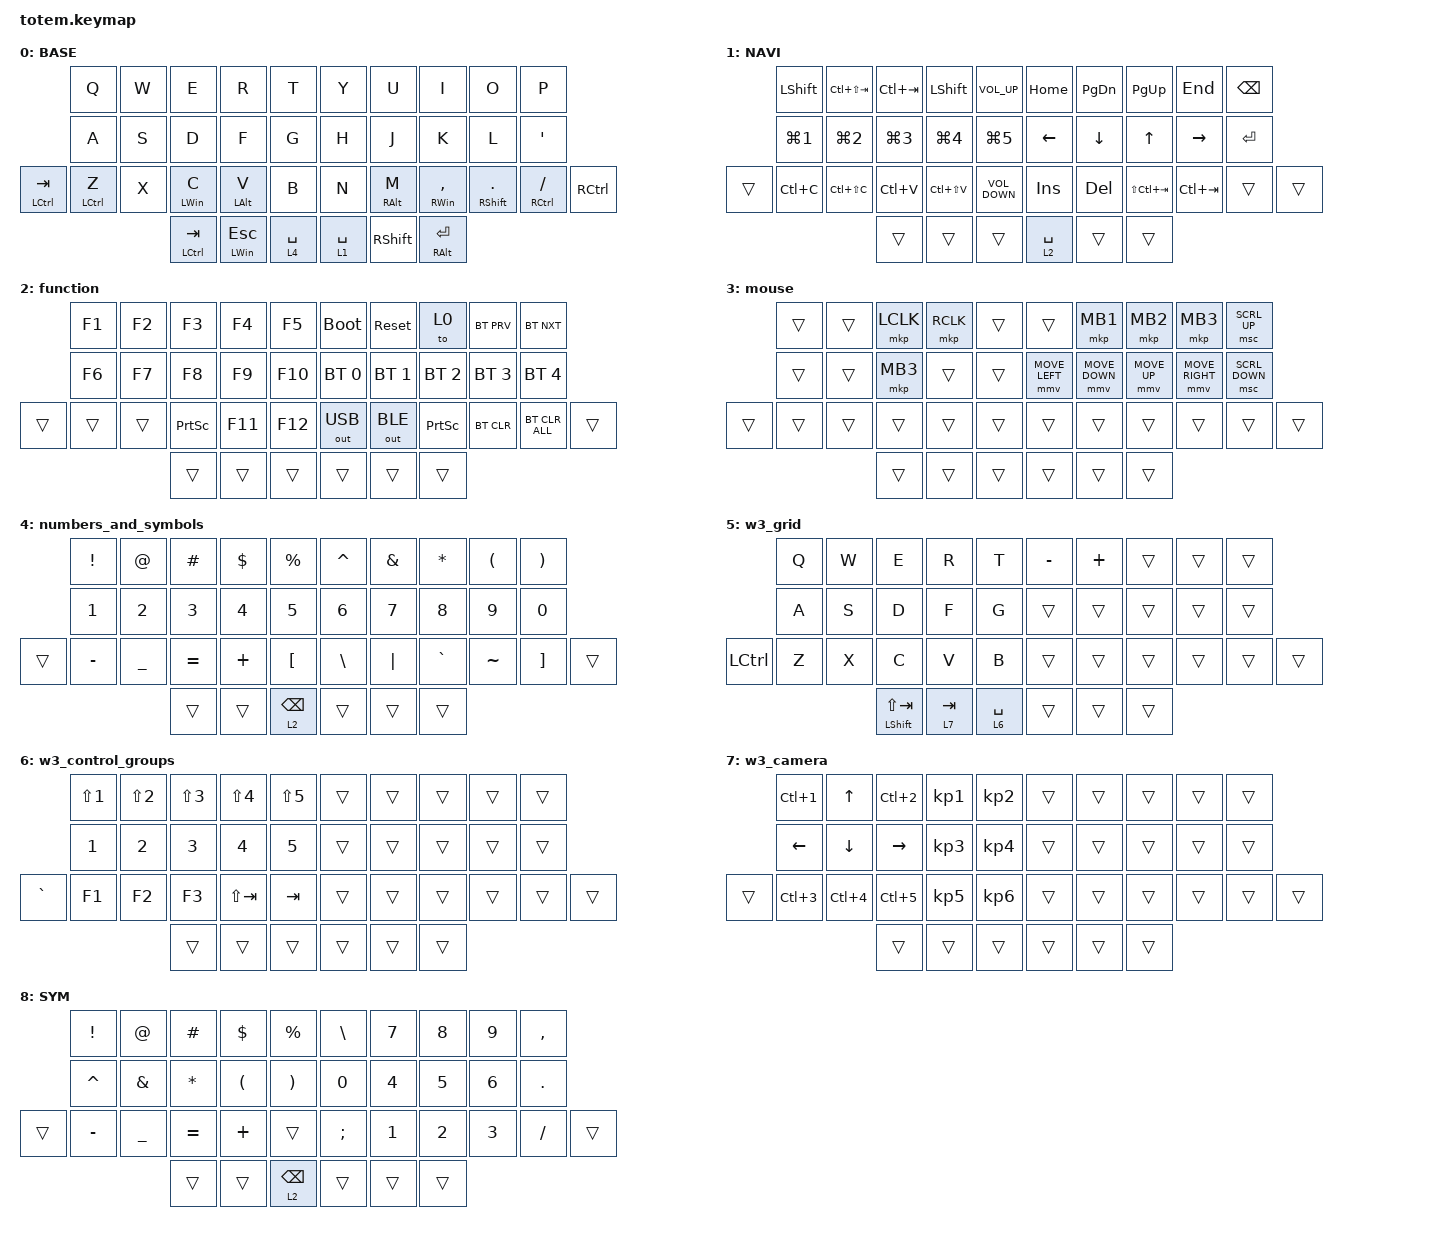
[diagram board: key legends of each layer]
//
//                                                        ▀▀▀▀▀     ▀▀▀▀▀          ▀▀█▀▀
//                                                        ▄▀▀▀▄  ▄  ▄▀▀▀▄  ▄  ▄▀▀▀▄  █  ▄▀▀▀▄
//                                                        █   █  █  █   █  █  █   █  █  █   █
//                                                         ▀▀▀   █   ▀▀▀   █   ▀▀▀   ▀   ▀▀▀
//                                                               █      ▄▄▄█▄▄▄    █   █  
//                                                               ▀      █  █  █     █▄█
//                                                             ▀▀▀▀▀    █  █  █      ▀
//                                                                      ▀  ▀  ▀
//
// ▄▄▄▄▄▄▄▄▄▄▄▄▄▄▄▄▄▄▄▄▄▄▄▄▄▄▄▄▄▄▄▄▄▄▄▄▄▄▄▄▄▄▄▄▄▄▄▄▄▄▄▄▄▄▄▄▄▄▄▄▄▄▄▄▄▄▄▄▄▄▄▄▄▄▄▄▄▄▄▄▄▄▄▄▄▄▄▄▄▄▄▄▄▄▄▄▄▄▄▄▄▄▄▄▄▄▄▄▄▄▄▄▄▄▄▄▄▄▄▄▄▄▄▄▄▄▄▄▄▄▄▄▄▄▄▄▄▄▄▄▄▄▄▄▄▄▄▄▄

#define ZMK_POINTING_DEFAULT_MOVE_VAL 1500  // default: 600
#define ZMK_POINTING_DEFAULT_SCRL_VAL 20    // default: 10

#include <behaviors.dtsi>
#include <dt-bindings/zmk/bt.h>
#include <dt-bindings/zmk/keys.h>
#include <dt-bindings/zmk/outputs.h>
#include <dt-bindings/zmk/pointing.h>

#define BASE 0
#define NAV  1
#define SYM  2
#define ADJ  3
#define TVP1 4
#define TVP2 5

&mt {
    quick-tap-ms = <150>;
    global-quick-tap;
    flavor = "tap-preferred";
    tapping-term-ms = <220>;
};

/ {
    combos {
        compatible = "zmk,combos";
        timeout-ms = <30>;
        require-prior-idle-ms = <100>;

        left_square {
            bindings = <&kp LEFT_BRACKET>;
            key-positions = <11 18>;
        };

        right_square {
            bindings = <&kp RIGHT_BRACKET>;
            key-positions = <12 17>;
        };

        left_parenthesis {
            bindings = <&kp LEFT_PARENTHESIS>;
            key-positions = <22 29>;
        };

        right_parenthesis {
            bindings = <&kp RIGHT_PARENTHESIS>;
            key-positions = <23 28>;
        };

        semicolon {
            bindings = <&kp SEMICOLON>;
            key-positions = <16 13>;
        };

        apostrophe {
            bindings = <&kp SQT>;
            key-positions = <24 27>;
        };

        mouse {
            bindings = <&mo 3>;
            key-positions = <0 1>;
        };

        for_the_horde {
            bindings = <&to 5>;
            key-positions = <20 31>;
        };

        curly_brace {
            bindings = <&kp LEFT_BRACE>;
            key-positions = <1 8>;
        };

        curly_brace_close {
            bindings = <&kp RIGHT_BRACE>;
            key-positions = <2 7>;
        };

        back_to_work {
            bindings = <&to 0>;
            key-positions = <16 17 18>;
        };

        colon {
            bindings = <&kp COLON>;
            key-positions = <3 6>;
        };

        backticks {
            bindings = <&kp GRAVE>;
            key-positions = <27 24>;
        };
    };

    macros {
        gif: gif {
            label = "giphy";
            compatible = "zmk,behavior-macro";
            #binding-cells = <0>;
            bindings =
                <&macro_press>,
                <&kp LSHFT>,
                <&macro_tap>,
                <&kp N2>,
                <&macro_release>,
                <&kp LSHFT>,
                <&macro_tap>,
                <&kp G &kp I &kp F>;
        };
    };

    keymap {
        compatible = "zmk,keymap";

        base_layer {
            label = "BASE";
            bindings = <
               &kp Q        &kp W  &kp E           &kp R                &kp T          &kp Y        &kp U            &kp I                &kp O                   &kp P
               &kp A        &kp S  &kp D           &kp F                &kp G          &kp H        &kp J            &kp K                &kp L                   &kp SQT
&mt LCTRL TAB  &mt LCTRL Z  &kp X  &mt LEFT_WIN C  &mt LEFT_ALT V       &kp B          &kp N        &mt RIGHT_ALT M  &mt RIGHT_WIN COMMA  &mt RIGHT_SHIFT PERIOD  &mt RCTRL SLASH  &kp RCTRL
                                   &mt LCTRL TAB   &mt LEFT_WIN ESCAPE  &lt 4 SPACE    &lt 1 SPACE  &kp RSHIFT       &mt RIGHT_ALT ENTER
            >;
        };

        navigation {
            label = "NAVI";
            bindings = <
        &kp LEFT_SHIFT    &kp LC(LS(TAB))   &kp LC(TAB)       &kp LEFT_SHIFT    &kp C_VOLUME_UP      &kp HOME     &kp PG_DN  &kp PG_UP        &kp END      &kp BACKSPACE
        &kp LG(NUMBER_1)  &kp LG(NUMBER_2)  &kp LG(NUMBER_3)  &kp LG(NUMBER_4)  &kp LG(N5)           &kp LEFT     &kp DOWN   &kp UP           &kp RIGHT    &kp ENTER
&trans  &kp LC(C)         &kp LC(LS(C))     &kp LC(V)         &kp LC(LS(V))     &kp C_VOLUME_DOWN    &kp INSERT   &kp DEL    &kp LS(LC(TAB))  &kp LC(TAB)  &trans         &trans
                                            &trans            &trans            &trans               &lt 2 SPACE  &trans     &trans
            >;
        };

        function {
            bindings = <
        &kp F1  &kp F2  &kp F3           &kp F4   &kp F5     &bootloader   &sys_reset    &to 0            &bt BT_PRV    &bt BT_NXT
        &kp F6  &kp F7  &kp F8           &kp F9   &kp F10    &bt BT_SEL 0  &bt BT_SEL 1  &bt BT_SEL 2     &bt BT_SEL 3  &bt BT_SEL 4
&trans  &trans  &trans  &kp PRINTSCREEN  &kp F11  &kp F12    &out OUT_USB  &out OUT_BLE  &kp PRINTSCREEN  &bt BT_CLR    &bt BT_CLR_ALL  &trans
                        &trans           &trans   &trans     &trans        &trans        &trans
            >;
        };

        mouse {
            bindings = <
        &trans  &trans  &mkp LCLK  &mkp RCLK  &trans    &trans          &mkp MB1        &mkp MB2      &mkp MB3         &msc SCRL_UP
        &trans  &trans  &mkp MB3   &trans     &trans    &mmv MOVE_LEFT  &mmv MOVE_DOWN  &mmv MOVE_UP  &mmv MOVE_RIGHT  &msc SCRL_DOWN
&trans  &trans  &trans  &trans     &trans     &trans    &trans          &trans          &trans        &trans           &trans          &trans
                        &trans     &trans     &trans    &trans          &trans          &trans
            >;
        };

        numbers_and_symbols {
            bindings = <
        &kp EXCLAMATION  &kp AT_SIGN     &kp POUND     &kp DOLLAR    &kp PERCENT         &kp CARET      &kp AMPERSAND  &kp ASTERISK  &kp LEFT_PARENTHESIS  &kp RIGHT_PARENTHESIS
        &kp NUMBER_1     &kp NUMBER_2    &kp NUMBER_3  &kp NUMBER_4  &kp N5              &kp NUMBER_6   &kp N7         &kp N8        &kp N9                &kp N0
&trans  &kp MINUS        &kp UNDERSCORE  &kp EQUAL     &kp PLUS      &kp LEFT_BRACKET    &kp BACKSLASH  &kp PIPE       &kp GRAVE     &kp TILDE             &kp RIGHT_BRACKET      &trans
                                         &trans        &trans        &lt 2 BACKSPACE     &trans         &trans         &trans
            >;
        };

        w3_grid {
            bindings = <
           &kp Q  &kp W  &kp E                   &kp R      &kp T          &kp MINUS  &kp PLUS  &trans  &trans  &trans
           &kp A  &kp S  &kp D                   &kp F      &kp G          &trans     &trans    &trans  &trans  &trans
&kp LCTRL  &kp Z  &kp X  &kp C                   &kp V      &kp B          &trans     &trans    &trans  &trans  &trans  &trans
                         &mt LEFT_SHIFT LS(TAB)  &lt 7 TAB  &lt 6 SPACE    &trans     &trans    &trans
            >;
        };

        w3_control_groups {
            bindings = <
           &kp LS(N1)    &kp LS(N2)  &kp LS(N3)  &kp LS(N4)   &kp LS(N5)    &trans  &trans  &trans  &trans  &trans
           &kp NUMBER_1  &kp N2      &kp N3      &kp N4       &kp N5        &trans  &trans  &trans  &trans  &trans
&kp GRAVE  &kp F1        &kp F2      &kp F3      &kp LS(TAB)  &kp TAB       &trans  &trans  &trans  &trans  &trans  &trans
                                     &trans      &trans       &trans        &trans  &trans  &trans
            >;
        };

        w3_camera {
            bindings = <
        &kp LC(NUMBER_1)  &kp UP_ARROW      &kp LC(NUMBER_2)  &kp KP_NUMBER_1  &kp KP_NUMBER_2    &trans  &trans  &trans  &trans  &trans
        &kp LEFT          &kp DOWN          &kp RIGHT         &kp KP_NUMBER_3  &kp KP_NUMBER_4    &trans  &trans  &trans  &trans  &trans
&trans  &kp LC(NUMBER_3)  &kp LC(NUMBER_4)  &kp LC(N5)        &kp KP_NUMBER_5  &kp KP_NUMBER_6    &trans  &trans  &trans  &trans  &trans  &trans
                                            &trans            &trans           &trans             &trans  &trans  &trans
            >;
        };

        symbols {
            label = "SYM";
            bindings = <
        &kp EXCLAMATION  &kp AT_SIGN     &kp HASH      &kp DOLLAR            &kp PERCENT              &kp BSLH  &kp N7  &kp N8  &kp N9  &kp COMMA
        &kp CARET        &kp AMPERSAND   &kp ASTERISK  &kp LEFT_PARENTHESIS  &kp RIGHT_PARENTHESIS    &kp N0    &kp N4  &kp N5  &kp N6  &kp DOT
&trans  &kp MINUS        &kp UNDERSCORE  &kp EQUAL     &kp PLUS              &trans                   &kp SEMI  &kp N1  &kp N2  &kp N3  &kp FSLH   &trans
                                         &trans        &trans                &lt 2 BACKSPACE          &trans    &trans  &trans
            >;
        };
    };
};
